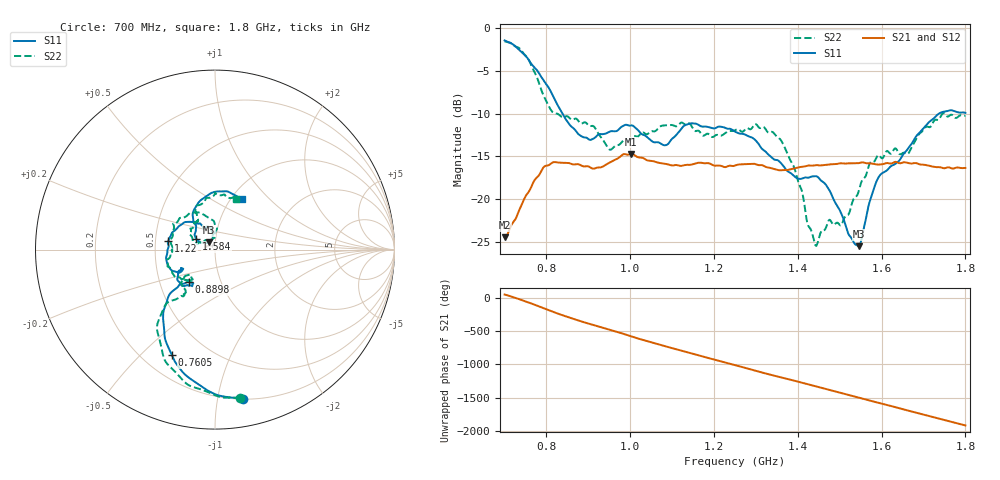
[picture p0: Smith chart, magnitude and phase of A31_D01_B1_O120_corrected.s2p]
! Created with skrf 1.9.0 (http://scikit-rf.org).
# Hz S RI R 50.0
!freq ReS11 ImS11 ReS21 ImS21 ReS12 ImS12 ReS22 ImS22
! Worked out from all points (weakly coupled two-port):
!   1601 points, 700 MHz to 1.8 GHz, reference 50 ohm
!   highest |S21| = -14.72 dB at 1.002 GHz (marker M1); lowest = -24.5 dB at 700.7 MHz (marker M2)
!   lowest |S11| = -25.5 dB at 1.545 GHz (marker M3), VSWR 1.11, Z = 46.7 + j3.89 ohm
!   |S11| at or under -10 dB: 838.3 MHz to 1.737 GHz (898.3 MHz wide, 69.8 % of centre)
!   |S22| runs from -25.5 to -1.5 dB; largest |S21 - S12| = 0.0036
!   S11 on the Smith chart (normalised r, x): 700 MHz: 0.20, -1.19; 760.5 MHz: 0.32, -0.62; 889.8 MHz: 0.71, -0.27; 1.22 GHz: 0.59, +0.06; 1.584 GHz: 0.81, +0.10; 1.8 GHz: 1.12, +0.70
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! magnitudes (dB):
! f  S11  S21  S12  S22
! 700 MHz  -1.4  -24.4  -24.2  -1.5
! 700.7 MHz  -1.5  -24.5  -24.2  -1.5
! 760.5 MHz  -4.0  -18.9  -18.8  -4.0
! 812.8 MHz  -7.7  -15.8  -15.8  -9.7
! 883.6 MHz  -12.7  -16.1  -16.0  -11.2
! 889.8 MHz  -12.8  -16.2  -16.1  -11.0
! 950.9 MHz  -12.1  -15.7  -15.7  -14.2
! 1.002 GHz  -11.4  -14.7  -14.8  -12.9
! 1.067 GHz  -13.4  -15.7  -15.7  -11.7
! 1.22 GHz  -11.6  -16.2  -16.2  -12.5
! 1.25 GHz  -12.1  -16.1  -16.0  -11.9
! 1.359 GHz  -15.7  -16.6  -16.6  -13.0
! 1.392 GHz  -17.4  -16.4  -16.4  -16.5
! 1.434 GHz  -17.4  -16.1  -16.1  -23.9
! 1.444 GHz  -17.3  -16.0  -16.0  -25.5
! 1.504 GHz  -21.7  -15.8  -15.8  -23.0
! 1.545 GHz  -25.5  -15.8  -15.8  -19.1
! 1.584 GHz  -18.4  -15.9  -15.9  -15.5
! 1.617 GHz  -16.4  -15.8  -15.8  -14.5
! 1.663 GHz  -14.1  -15.8  -15.8  -14.7
! 1.736 GHz  -10.0  -16.3  -16.3  -10.7
! 1.8 GHz  -9.9  -16.4  -16.4  -10.2
